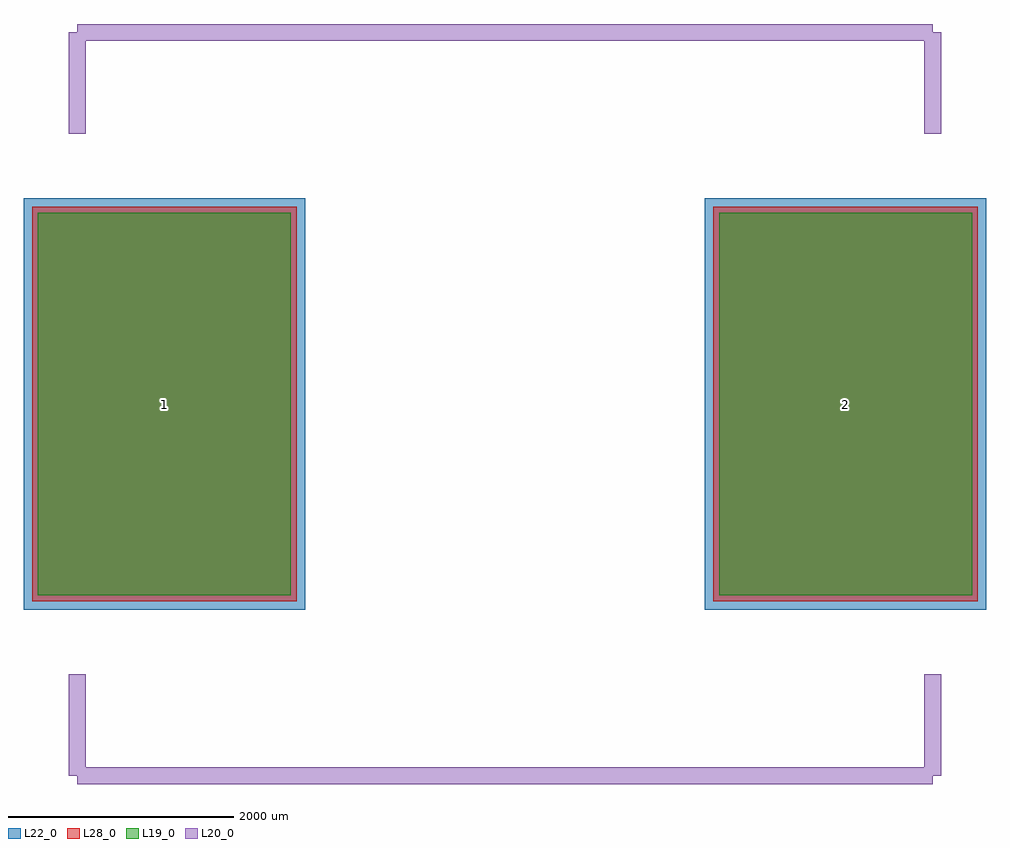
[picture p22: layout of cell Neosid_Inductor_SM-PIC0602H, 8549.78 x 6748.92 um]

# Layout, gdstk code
import gdstk
lib = gdstk.Library(unit=1e-6, precision=1e-09)
def R(c, l, rs):  # rectangles x0, y0, x1, y1
    for r in rs: c.add(gdstk.rectangle(r[:2], r[2:], *l))
L19_0 = (19, 0)
L20_0 = (20, 0)
L22_0 = (22, 0)
L28_0 = (28, 0)

neosid_inductor_sm_pic06 = lib.new_cell('Neosid_Inductor_SM-PIC0602H')
R(neosid_inductor_sm_pic06, L19_0, [(-4149.89,-1700.06,-1900.39,1700.06), (1900.39,-1700.06,4149.89,1700.06)])
R(neosid_inductor_sm_pic06, L22_0, [(-4274.89,-1825.06,-1775.39,1825.06), (1775.39,-1825.06,4274.89,1825.06)])
R(neosid_inductor_sm_pic06, L28_0, [(-4199.89,-1750.06,-1850.39,1750.06), (1850.39,-1750.06,4199.89,1750.06)])
neosid_inductor_sm_pic06.add(gdstk.FlexPath([(-3799.84,3299.46),(-3799.84,2400.3)], 149.998, ends="flush", simple_path=True, layer=20, datatype=0))  # L20_0
neosid_inductor_sm_pic06.add(gdstk.FlexPath([(3799.84,3299.46),(-3799.84,3299.46)], 149.998, ends="flush", simple_path=True, layer=20, datatype=0))  # L20_0
neosid_inductor_sm_pic06.add(gdstk.FlexPath([(3799.84,-3299.46),(3799.84,-2400.3)], 149.998, ends="flush", simple_path=True, layer=20, datatype=0))  # L20_0
neosid_inductor_sm_pic06.add(gdstk.FlexPath([(-3799.84,-3299.46),(3799.84,-3299.46)], 149.998, ends="flush", simple_path=True, layer=20, datatype=0))  # L20_0
neosid_inductor_sm_pic06.add(gdstk.FlexPath([(-3799.84,-2400.3),(-3799.84,-3299.46)], 149.998, ends="flush", simple_path=True, layer=20, datatype=0))  # L20_0
neosid_inductor_sm_pic06.add(gdstk.FlexPath([(3799.84,2400.3),(3799.84,3299.46)], 149.998, ends="flush", simple_path=True, layer=20, datatype=0))  # L20_0
neosid_inductor_sm_pic06.add(gdstk.Label('2', (3025.14,0), layer=28, texttype=0))
neosid_inductor_sm_pic06.add(gdstk.Label('1', (-3025.14,0), layer=28, texttype=0))
neosid_inductor_sm_pic06.add(gdstk.Label('type', (0,-5499.1), layer=9, texttype=0))
neosid_inductor_sm_pic06.add(gdstk.Label('devicename', (0,5400.04), layer=9, texttype=0))

lib.write_gds('Neosid_Inductor_SM-PIC0602H.gds')
